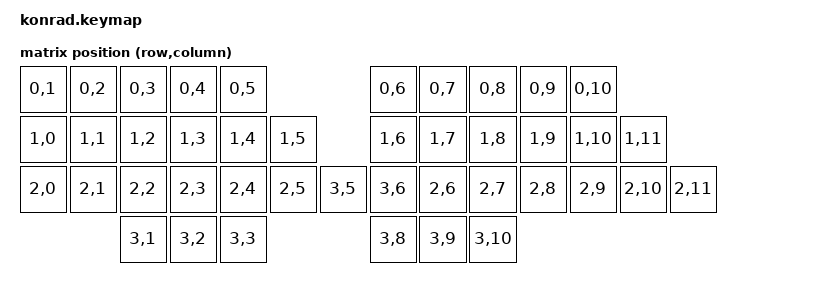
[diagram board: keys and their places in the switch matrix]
#include <dt-bindings/zmk/matrix_transform.h>

&default_transform {
    map = <
        RC(0,1) RC(0,2) RC(0,3) RC(0,4) RC(0,5)                 RC(0,6) RC(0,7) RC(0,8) RC(0,9) RC(0,10)
        RC(1,0) RC(1,1) RC(1,2) RC(1,3) RC(1,4) RC(1,5)         RC(1,6) RC(1,7) RC(1,8) RC(1,9) RC(1,10) RC(1,11)
        RC(2,0) RC(2,1) RC(2,2) RC(2,3) RC(2,4) RC(2,5) RC(3,5) RC(3,6) RC(2,6) RC(2,7) RC(2,8) RC(2,9) RC(2,10) RC(2,11)
                        RC(3,1) RC(3,2) RC(3,3)                 RC(3,8) RC(3,9) RC(3,10)
    >;
};

#define ___ &none

#define LT4 0
#define LT3 1
#define LT2 2
#define LT1 3
#define LT0 4
#define RT0 5
#define RT1 6
#define RT2 7
#define RT3 8
#define RT4 9

#define LM4 11
#define LM3 12
#define LM2 13
#define LM1 14
#define LM0 15
#define RM0 16
#define RM1 17
#define RM2 18
#define RM3 19
#define RM4 20

#define LB4 23
#define LB3 24
#define LB2 25
#define LB1 26
#define LB0 27
#define RB0 30
#define RB1 31
#define RB2 32
#define RB3 33
#define RB4 34

#define LH2 37
#define LH1 38
#define RH1 39
#define RH2 40

#define THUMBS LH2 LH1 RH1 RH2

#define ZMK_BASE_LAYER(name, LT, RT, LM, RM, LB, RB, LH, RH) \
    ZMK_LAYER(name, \
        LT RT \
        ___ LM RM ___ \
        ___ LB ___ ___ RB ___ \
        ___ LH RH ___ \
    )

#include "base.keymap"
